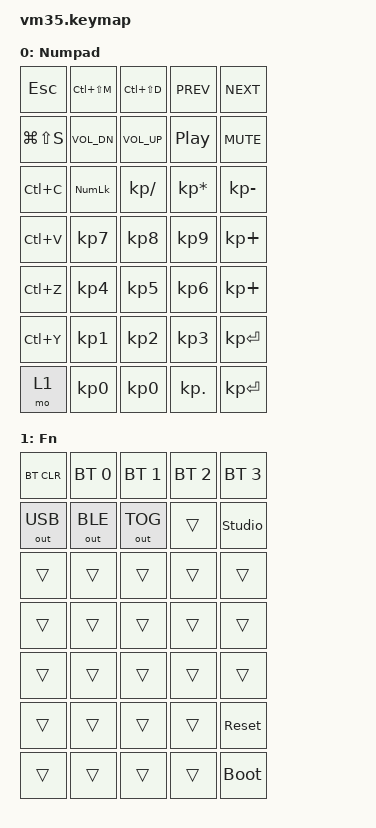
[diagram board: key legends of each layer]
#include <behaviors.dtsi>
#include <dt-bindings/zmk/keys.h>
#include <dt-bindings/zmk/bt.h>
#include <dt-bindings/zmk/outputs.h>

/*
 * VM35 macropad. Authored in physical order (top-left first, left->right).
 * Lower-right 4x5 = numpad; left column + top two rows = function gutter.
 *
 * Six 2u-capable spots exist on the PCB (two switches share a node):
 *   (0,1) (0,3) (3,0) (5,0) (5,4) (6,3)   [row,col, col0=left]
 * A 2u keycap only fits where the board has two switch footprints, i.e.
 * those spots. Tell me which cap goes where and I'll tune them.
 */

/ {
	keymap {
		compatible = "zmk,keymap";

		base_layer {
			display-name = "Numpad";
			bindings = <
				&kp ESC       &kp LC(LS(M))  &kp LC(LS(D))  &kp C_PREV      &kp C_NEXT
				&kp LG(LS(S)) &kp C_VOL_DN   &kp C_VOL_UP   &kp C_PP        &kp C_MUTE
				&kp LC(C)     &kp KP_NUM     &kp KP_DIVIDE  &kp KP_MULTIPLY &kp KP_MINUS
				&kp LC(V)     &kp KP_N7      &kp KP_N8      &kp KP_N9       &kp KP_PLUS
				&kp LC(Z)     &kp KP_N4      &kp KP_N5      &kp KP_N6       &kp KP_PLUS
				&kp LC(Y)     &kp KP_N1      &kp KP_N2      &kp KP_N3       &kp KP_ENTER
				&mo 1         &kp KP_N0      &kp KP_N0      &kp KP_DOT      &kp KP_ENTER
			>;
		};

		fn_layer {
			display-name = "Fn";
			bindings = <
				&bt BT_CLR    &bt BT_SEL 0   &bt BT_SEL 1   &bt BT_SEL 2    &bt BT_SEL 3
				&out OUT_USB  &out OUT_BLE   &out OUT_TOG   &trans          &studio_unlock
				&trans        &trans         &trans         &trans          &trans
				&trans        &trans         &trans         &trans          &trans
				&trans        &trans         &trans         &trans          &trans
				&trans        &trans         &trans         &trans          &sys_reset
				&trans        &trans         &trans         &trans          &bootloader
			>;
		};
	};
};
